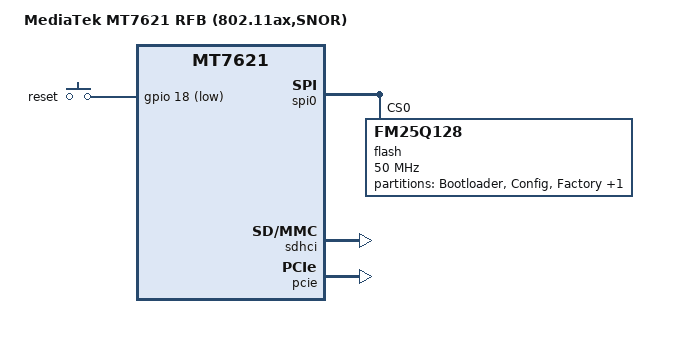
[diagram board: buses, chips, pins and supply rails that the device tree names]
#include "mt7621.dtsi"
#include <dt-bindings/input/input.h>

/ {
	compatible = "rfb-ax5400p-nor";
	model = "MediaTek MT7621 RFB (802.11ax,SNOR)";

	chosen {
		bootargs = "console=ttyS0,115200";
	};

	keys {
		compatible = "gpio-keys-polled";
		#address-cells = <1>;
		#size-cells = <0>;
		poll-interval = <20>;

		reset {
			label = "reset";
			gpios = <&gpio 18 GPIO_ACTIVE_LOW>;
			linux,code = <KEY_RESTART>;
		};
	};
};

&spi0 {
	status = "okay";

	flash@0 {
		#address-cells = <1>;
		#size-cells = <1>;
		compatible = "FM25Q128","jedec,spi-nor";
		reg = <0>;
		spi-max-frequency = <50000000>;
		
        partitions {
            compatible = "fixed-partitions";
            #address-cells = <1>;
            #size-cells = <1>;
			partition@0 {
				label = "Bootloader";
				reg = <0x00000 0x30000>;
				read-only;
			};

			partition@30000 {
				label = "Config";
				reg = <0x30000 0x10000>;
				read-only;
			};

			factory:partition@50000 {
				label = "Factory";
				reg = <0x50000 0x40000>;
				read-only;
			};

			partition@90000 {
				compatible = "denx,fit";
				label = "firmware";
				reg = <0x90000 0xf70000>;
			};
		};
	};
};

&state_default {
	gpio {
		groups = "uart2", "uart3";
		function = "gpio";
	};
};

&sdhci {
	status = "okay";
};

&xhci {
	status = "disabled";
};

&pcie {
	status = "okay";
};

&pcie1 {
	wifi@0,0 {
		reg = <0x0000 0 0 0 0>;
		mediatek,mtd-eeprom = <&factory 0x0000>;
	};
};

&gmac0 {
	nvmem-cells = <&macaddr_factory_4>;
	nvmem-cell-names = "mac-address";
	mac-address-increment = <2>;
};

&switch0 {
	ports {
		wan_port: port@0 {
			status = "okay";
			label = "wan";
			nvmem-cells = <&macaddr_factory_4>;
			nvmem-cell-names = "mac-address";
			mac-address-increment = <3>;
		};
		port@1 {
			status = "okay";
			label = "lan1";
		};
		port@2 {
			status = "okay";
			label = "lan2";
		};
		port@4 {
			status = "okay";
			label = "lan3";
		};
	};
};

&factory {
	compatible = "nvmem-cells";
	#address-cells = <1>;
	#size-cells = <1>;

	macaddr_factory_4: macaddr@4 {
		reg = <0x4 0x6>;
	};
};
